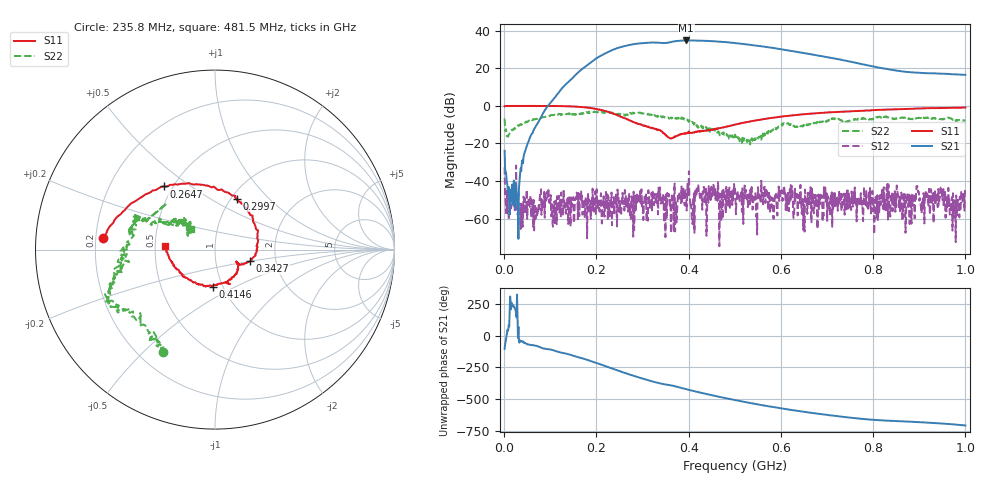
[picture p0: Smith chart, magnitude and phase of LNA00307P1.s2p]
! Created with skrf 1.9.0 (http://scikit-rf.org).
# Hz S RI R 50.0
!freq ReS11 ImS11 ReS21 ImS21 ReS12 ImS12 ReS22 ImS22
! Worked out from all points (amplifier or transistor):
!   1001 points, 1 MHz to 1 GHz, reference 50 ohm
!   highest |S21| = 34.8 dB at 394.6 MHz (marker M1)
!   |S21| within 3 dB of that: 261.1 MHz to 554.8 MHz (293.8 MHz wide, 72 % of centre)
!   unconditionally stable (mu >= 1): start of sweep to 78.73 MHz; 223.9 MHz to 400.2 MHz; 401.1 MHz to end of sweep (the widest 3 of 26)
!   at 166.8 MHz: K = 1.18, MAG = 29.5 dB, |S12| = -44.9 dB
!   at 500.5 MHz: K = 1.69, MAG = 33.9 dB, |S12| = -44.1 dB
!   at 1 GHz: K = 1.50, MAG = 26.0 dB, |S12| = -43.9 dB
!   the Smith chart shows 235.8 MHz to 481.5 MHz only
!   S11 on the Smith chart (normalised r, x): 235.8 MHz: 0.23, +0.05; 264.7 MHz: 0.45, +0.40; 299.7 MHz: 1.06, +0.66; 342.7 MHz: 1.47, -0.20; 414.6 MHz: 0.90, -0.39; 481.5 MHz: 0.56, +0.02
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1000000  0.9773 -0.0069  -0.015 -0.0621  -0.0229 -0.00476  0.3083 0.339
1.08892e8  0.5131 -0.8515  -0.7608 -1.43  0.00284 -0.00043  0.4307 -0.39
1.67833e8  -0.2431 -0.8978  -9.305 -0.5964  -0.00128 -0.00263  0.0345 -0.6408
2.07793e8  -0.6759 -0.4126  -15.14 14.55  -0.00202 -0.00137  -0.1998 -0.6535
2.35765e8  -0.6237 0.0651  -5.164 30.61  -0.00301 -0.000163  -0.2907 -0.5706
2.64736e8  -0.2868 0.3517  17.61 35.89  -0.00179 0.00106  -0.4535 -0.3718
2.99701e8  0.1205 0.2837  42.88 18.63  -0.00197 0.00177  -0.5834 -0.2525
3.34666e8  0.2342 -0.00335  46.93 -9.712  -0.00665 0.000243  -0.5165 -0.0317
3.42658e8  0.1962 -0.0646  44.88 -14.65  -0.00158 0.00296  -0.4902 -0.026
3.7063e8  0.1268 -0.0786  41.99 -31.63  -0.000417 -0.000188  -0.449 0.1486
3.94606e8  0.0839 -0.1679  27.64 -47.62  -0.000283 0.00361  -0.4054 0.1633
4.14586e8  -0.0125 -0.206  11.84 -53.45  -0.00167 0.00531  -0.2627 0.1549
4.45555e8  -0.1732 -0.1536  -12 -51.64  -0.00255 0.00217  -0.1556 0.134
4.81519e8  -0.2804 0.0193  -32.51 -37.38  0.000954 0.00694  -0.1361 0.1159
5.005e8  -0.2829 0.1358  -38.74 -26.92  0.00174 -0.00599  -0.1626 0.0532
5.36464e8  -0.2109 0.3302  -40.95 -7.07  0.00682 0.00117  -0.1227 -0.0158
5.83417e8  -0.00341 0.4863  -32.48 12.02  0.000732 -0.000774  -0.2161 -0.1028
6.21379e8  0.1807 0.5236  -21.78 19.41  0.00346 -0.00701  -0.3011 -0.1294
6.67333e8  0.3978 0.4834  -9.545 21.14  -0.00283 -0.00558  -0.3617 -0.0253
7.46254e8  0.6458 0.2975  2.945 15.04  0.000152 -0.00185  -0.3678 0.0961
8.34166e8  0.7965 0.0227  5.631 7.514  -0.00325 -0.00308  -0.4212 0.2385
1e9  0.7251 -0.5395  6.459 1.89  0.00625 0.00142  -0.0804 0.3949
